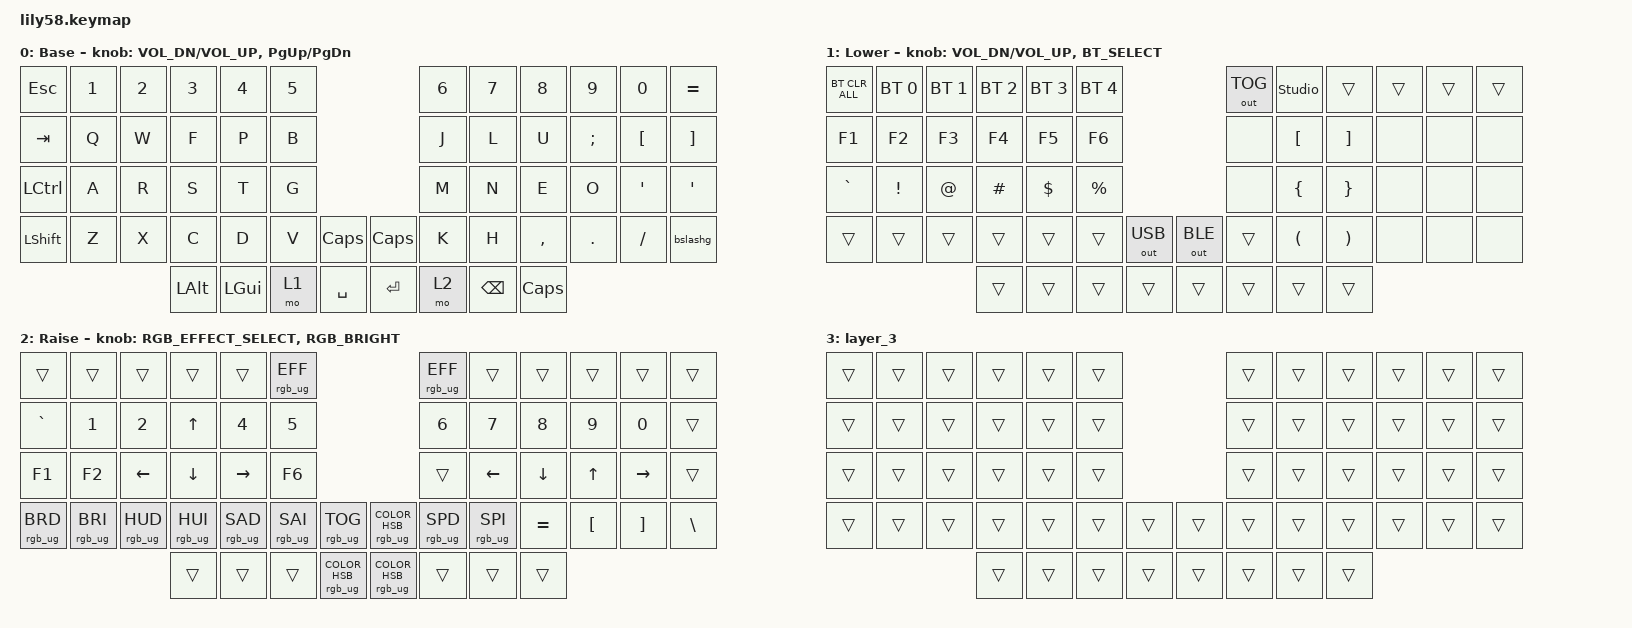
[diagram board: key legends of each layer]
/*
 * Copyright (c) 2020 The ZMK Contributors
 *
 * SPDX-License-Identifier: MIT
 */

#include <behaviors.dtsi>
#include <dt-bindings/zmk/bt.h>
#include <dt-bindings/zmk/keys.h>
#include <dt-bindings/zmk/outputs.h>
#include <dt-bindings/zmk/rgb.h>

&nice_view_spi {
    cs-gpios = <&pro_micro 4 GPIO_ACTIVE_HIGH>;
};

&led_strip {
    chain-length = <6>;
};

//Encoder Support
//Alps Alpine EC11N1524402: 30 Detent, 15PPR, 2 Channel, Quadrature, 15000 Cycle

/ {
    left_encoder: encoder_left {
        compatible = "alps,ec11";
        label = "LEFT_ENCODER";
        a-gpios = <&pro_micro 21 (GPIO_ACTIVE_HIGH | GPIO_PULL_UP)>;
        b-gpios = <&pro_micro 20 (GPIO_ACTIVE_HIGH | GPIO_PULL_UP)>;
        steps = <40>;
    };

    right_encoder: encoder_right {
        compatible = "alps,ec11";
        label = "RIGHT_ENCODER";
        a-gpios = <&pro_micro 21 (GPIO_ACTIVE_HIGH | GPIO_PULL_UP)>;
        b-gpios = <&pro_micro 20 (GPIO_ACTIVE_HIGH | GPIO_PULL_UP)>;
        steps = <40>;
    };

    sensors {
        compatible = "zmk,keymap-sensors";
        sensors = <&left_encoder &right_encoder>;
        triggers-per-rotation = <20>;
    };
};

/ {
    behaviors {
        BT_SELECT: BT_SELECT {
            compatible = "zmk,behavior-sensor-rotate";
            label = "BT_SELECT";
            #sensor-binding-cells = <0>;
            bindings = <&bt BT_PRV>, <&bt BT_NXT>;
        };

        RGB_EFFECT_SELECT: RGB_EFFECT_SELECT {
            compatible = "zmk,behavior-sensor-rotate";
            label = "RGB_EFFECT_SELECT";
            #sensor-binding-cells = <0>;
            bindings = <&rgb_ug RGB_EFF>, <&rgb_ug RGB_EFR>;
        };

        RGB_BRIGHT: RGB_BRIGHT {
            compatible = "zmk,behavior-sensor-rotate";
            label = "RGB_BRIGHT";
            #sensor-binding-cells = <0>;
            bindings = <&rgb_ug RGB_BRI>, <&rgb_ug RGB_BRD>;
        };

        bslashg: bslashg {
            compatible = "zmk,behavior-tap-dance";
            label = "BSLASHG";
            #binding-cells = <0>;
            bindings = <&kp LESS_THAN>, <&kp BACKSLASH>, <&kp GREATER_THAN>;
        };
    };

    keymap {
        compatible = "zmk,keymap";

        default_layer {
            // ------------------------------------------------------------------------------------------------------------
            // |  ESC  |  1  |  2  |  3   |  4   |  5   |                   |  6   |  7    |  8    |  9   |   0   |   `   |
            // |  TAB  |  Q  |  W  |  E   |  R   |  T   |                   |  Y   |  U    |  I    |  O   |   P   |   -   |
            // |  CTRL |  A  |  S  |  D   |  F   |  G   |                   |  H   |  J    |  K    |  L   |   ;   |   '   |
            // | SHIFT |  Z  |  X  |  C   |  V   |  B   |   "["  |  |  "]"  |  N   |  M    |  ,    |  .   |   /   | SHIFT |
            //                     | ALT  | GUI  | LOWER|  SPACE |  | ENTER | RAISE| BSPC  | GUI   |

            label = "Base";
            bindings = <
&kp ESC         &kp NUMBER_1  &kp NUMBER_2  &kp NUMBER_3  &kp NUMBER_4  &kp N5                         &kp NUMBER_6  &kp N7    &kp N8     &kp N9         &kp N0            &kp EQUAL
&kp TAB         &kp Q         &kp W         &kp F         &kp P         &kp B                          &kp J         &kp L     &kp U      &kp SEMICOLON  &kp LEFT_BRACKET  &kp RIGHT_BRACKET
&kp LCTRL       &kp A         &kp R         &kp S         &kp T         &kp G                          &kp M         &kp N     &kp E      &kp O          &kp SQT           &kp SQT
&kp LEFT_SHIFT  &kp Z         &kp X         &kp C         &kp D         &kp V   &kp CLCK     &kp CLCK  &kp K         &kp H     &kp COMMA  &kp DOT        &kp FSLH          &bslashg
                                            &kp LALT      &kp LGUI      &mo 1   &kp SPACE    &kp RET   &mo 2         &kp BSPC  &kp CLCK
            >;

            sensor-bindings = <&inc_dec_kp C_VOL_DN C_VOL_UP &inc_dec_kp PG_UP PG_DN>;
        };

        lower_layer {
            // ------------------------------------------------------------------------------------------------------------
            // | BTCLR | BT1 | BT2 |  BT3 |  BT4 |  BT5 |                   |      |       |       |      |       |       |
            // |  F1   |  F2 |  F3 |  F4  |  F5  |  F6  |                   |  F7  |  F8   |  F9   |  F10 |  F11  |  F12  |
            // |   `   |  !  |  @  |  #   |  $   |  %   |                   |  ^   |  &    |  *    |  (   |   )   |   ~   |
            // |       |     |     |      |      |      |        |  |       |      |  _    |  +    |  {   |   }   |  "|"  |
            //                     |      |      |      |        |  |       |      |       |       |

            label = "Lower";
            bindings = <
&bt BT_CLR_ALL  &bt BT_SEL 0  &bt BT_SEL 1  &bt BT_SEL 2  &bt BT_SEL 3  &bt BT_SEL 4                                &out OUT_TOG  &studio_unlock                &trans                 &trans  &trans  &trans
&kp F1          &kp F2        &kp F3        &kp F4        &kp F5        &kp F6                                      &none         &kp LEFT_BRACKET      &kp RIGHT_BRACKET      &none   &none   &none
&kp GRAVE       &kp EXCL      &kp AT        &kp HASH      &kp DOLLAR    &kp PRCNT                                   &none         &kp LEFT_BRACE        &kp RIGHT_BRACE        &none   &none   &none
&trans          &trans        &trans        &trans        &trans        &trans        &out OUT_USB    &out OUT_BLE  &trans        &kp LEFT_PARENTHESIS  &kp RIGHT_PARENTHESIS  &none   &none   &none
                                            &trans        &trans        &trans        &trans          &trans        &trans        &trans                &trans
            >;

            sensor-bindings = <&inc_dec_kp C_VOL_DN C_VOL_UP &BT_SELECT>;
        };

        raise_layer {
            // ------------------------------------------------------------------------------------------------------------
            // |       |     |     |      |      |      |                   |      |       |       |      |       |       |
            // |   `   |  1  |  2  |  3   |  4   |  5   |                   |  6   |   7   |   8   |  9   |   0   |       |
            // |   F1  |  F2 |  F3 |  F4  |  F5  |  F6  |                   |      |   <-  |   v   |  ^   |  ->   |       |
            // |   F7  |  F8 |  F9 |  F10 |  F11 |  F12 |        |  |       |  +   |   -   |   =   |  [   |   ]   |   \   |
            //                     |      |      |      |        |  |       |      |       |       |

            label = "Raise";
            bindings = <
&trans           &trans           &trans           &trans           &trans           &rgb_ug RGB_EFF                                                                          &rgb_ug RGB_EFF  &trans           &trans     &trans    &trans     &trans
&kp GRAVE        &kp N1           &kp N2           &kp UP_ARROW     &kp N4           &kp N5                                                                                   &kp N6           &kp N7           &kp N8     &kp N9    &kp N0     &trans
&kp F1           &kp F2           &kp LEFT         &kp DOWN         &kp RIGHT        &kp F6                                                                                   &trans           &kp LEFT         &kp DOWN   &kp UP    &kp RIGHT  &trans
&rgb_ug RGB_BRD  &rgb_ug RGB_BRI  &rgb_ug RGB_HUD  &rgb_ug RGB_HUI  &rgb_ug RGB_SAD  &rgb_ug RGB_SAI  &rgb_ug RGB_TOG                      &rgb_ug RGB_COLOR_HSB(240,100,25)  &rgb_ug RGB_SPD  &rgb_ug RGB_SPI  &kp EQUAL  &kp LBKT  &kp RBKT   &kp BSLH
                                                   &trans           &trans           &trans           &rgb_ug RGB_COLOR_HSB(240,100,25)    &rgb_ug RGB_COLOR_HSB(240,100,25)  &trans           &trans           &trans
            >;

            sensor-bindings = <&RGB_EFFECT_SELECT &RGB_BRIGHT>;
        };

        layer_3 {
            bindings = <
&trans  &trans  &trans  &trans  &trans  &trans                    &trans  &trans  &trans  &trans  &trans  &trans
&trans  &trans  &trans  &trans  &trans  &trans                    &trans  &trans  &trans  &trans  &trans  &trans
&trans  &trans  &trans  &trans  &trans  &trans                    &trans  &trans  &trans  &trans  &trans  &trans
&trans  &trans  &trans  &trans  &trans  &trans  &trans    &trans  &trans  &trans  &trans  &trans  &trans  &trans
                        &trans  &trans  &trans  &trans    &trans  &trans  &trans  &trans
            >;
        };
    };
};

&left_encoder {
    resolution = <1>; // Default is 4
};

&right_encoder {
    resolution = <1>; // Default is 4
};
